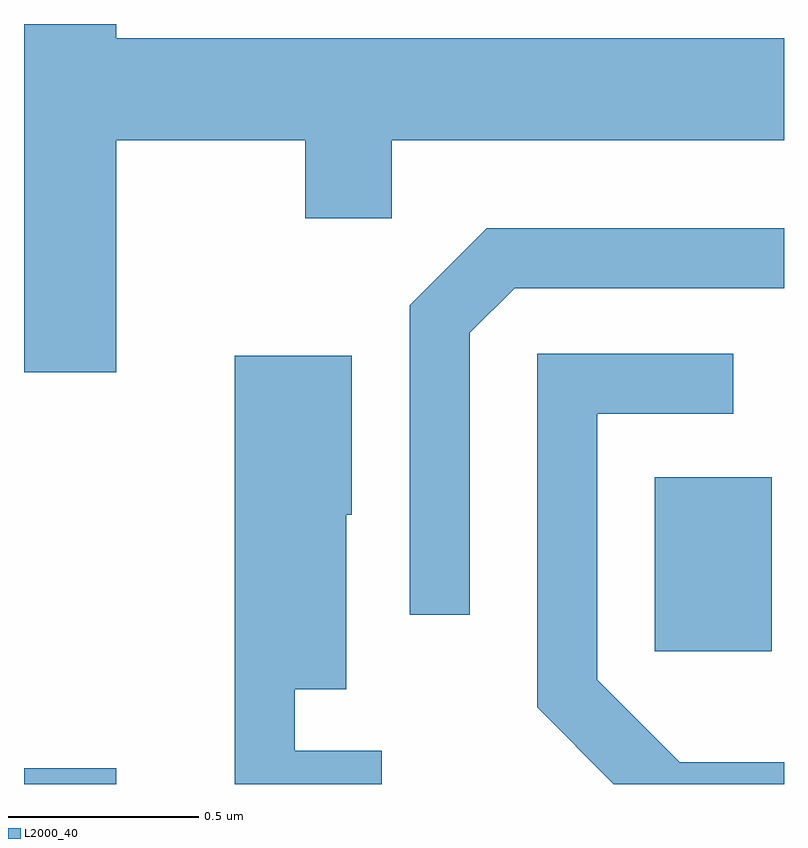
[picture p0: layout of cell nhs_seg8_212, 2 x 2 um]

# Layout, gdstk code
import gdstk
lib = gdstk.Library(unit=1e-6, precision=1e-09)
def R(c, l, rs):  # rectangles x0, y0, x1, y1
    for r in rs: c.add(gdstk.rectangle(r[:2], r[2:], *l))
def P(c, l, *ps):  # polygons
    for p in ps: c.add(gdstk.Polygon(p, *l))
L2000_40 = (2000, 40)

nhs_seg8_212 = lib.new_cell('nhs_seg8_212')
R(nhs_seg8_212, L2000_40, [(186.611,1881.342,186.854,1881.384), (188.271,1881.691,188.579,1882.149)])
P(nhs_seg8_212, L2000_40, [(186.854,1883.036),(187.351,1883.036),(187.351,1882.831),(187.579,1882.831),(187.579,1883.036),(188.611,1883.036),(188.611,1883.304),(186.854,1883.304),(186.854,1883.342),(186.611,1883.342),(186.611,1882.426),(186.854,1882.426)],
  [(187.784,1882.529),(187.902,1882.646),(188.611,1882.646),(188.611,1882.804),(187.829,1882.804),(187.626,1882.602),(187.626,1881.788),(187.784,1881.788)],
  [(188.611,1881.399),(188.337,1881.399),(188.119,1881.617),(188.119,1882.316),(188.478,1882.316),(188.478,1882.474),(187.961,1882.474),(187.961,1881.544),(188.163,1881.342),(188.611,1881.342)],
  [(187.553,1881.429),(187.324,1881.429),(187.324,1881.591),(187.459,1881.591),(187.459,1882.05),(187.474,1882.05),(187.474,1882.469),(187.166,1882.469),(187.166,1881.342),(187.553,1881.342)])

lib.write_gds('nhs_seg8_212.gds')
